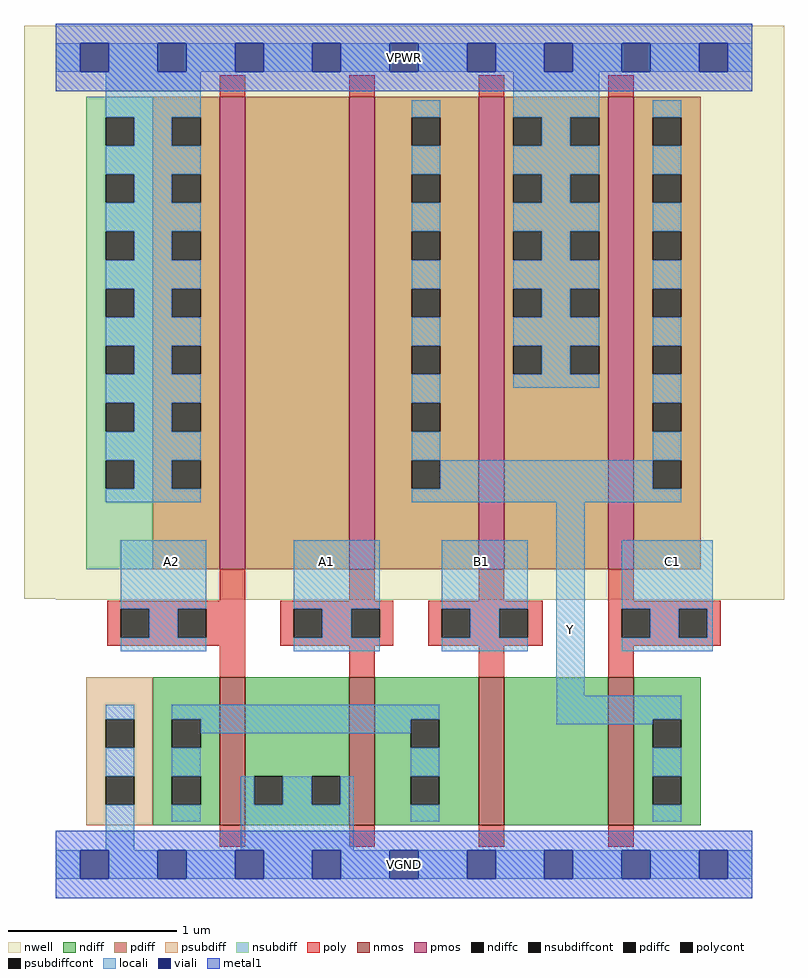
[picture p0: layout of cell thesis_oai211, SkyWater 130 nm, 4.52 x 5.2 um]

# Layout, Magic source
magic
tech sky130A
magscale 1 2
<< nwell >>
rect -38 316 866 998
rect 0 315 866 316
<< nmos >>
rect 195 47 225 223
rect 349 47 379 223
rect 503 47 533 223
rect 657 47 687 223
<< pmos >>
rect 195 351 225 913
rect 349 351 379 913
rect 503 351 533 913
rect 657 351 687 913
<< ndiff >>
rect 115 173 195 223
rect 115 139 138 173
rect 172 139 195 173
rect 115 105 195 139
rect 115 71 138 105
rect 172 71 195 105
rect 115 47 195 71
rect 225 105 349 223
rect 225 71 236 105
rect 270 71 304 105
rect 338 71 349 105
rect 225 47 349 71
rect 379 173 503 223
rect 379 139 422 173
rect 456 139 503 173
rect 379 105 503 139
rect 379 71 422 105
rect 456 71 503 105
rect 379 47 503 71
rect 533 47 657 223
rect 687 173 767 223
rect 687 139 710 173
rect 744 139 767 173
rect 687 105 767 139
rect 687 71 710 105
rect 744 71 767 105
rect 687 47 767 71
<< pdiff >>
rect 115 889 195 913
rect 115 855 138 889
rect 172 855 195 889
rect 115 821 195 855
rect 115 787 138 821
rect 172 787 195 821
rect 115 753 195 787
rect 115 719 138 753
rect 172 719 195 753
rect 115 685 195 719
rect 115 651 138 685
rect 172 651 195 685
rect 115 617 195 651
rect 115 583 138 617
rect 172 583 195 617
rect 115 549 195 583
rect 115 515 138 549
rect 172 515 195 549
rect 115 481 195 515
rect 115 447 138 481
rect 172 447 195 481
rect 115 351 195 447
rect 225 351 349 913
rect 379 889 503 913
rect 379 855 423 889
rect 457 855 503 889
rect 379 821 503 855
rect 379 787 423 821
rect 457 787 503 821
rect 379 753 503 787
rect 379 719 423 753
rect 457 719 503 753
rect 379 685 503 719
rect 379 651 423 685
rect 457 651 503 685
rect 379 617 503 651
rect 379 583 423 617
rect 457 583 503 617
rect 379 549 503 583
rect 379 515 423 549
rect 457 515 503 549
rect 379 481 503 515
rect 379 447 423 481
rect 457 447 503 481
rect 379 351 503 447
rect 533 889 657 913
rect 533 855 544 889
rect 578 855 612 889
rect 646 855 657 889
rect 533 821 657 855
rect 533 787 544 821
rect 578 787 612 821
rect 646 787 657 821
rect 533 753 657 787
rect 533 719 544 753
rect 578 719 612 753
rect 646 719 657 753
rect 533 685 657 719
rect 533 651 544 685
rect 578 651 612 685
rect 646 651 657 685
rect 533 617 657 651
rect 533 583 544 617
rect 578 583 612 617
rect 646 583 657 617
rect 533 351 657 583
rect 687 889 767 913
rect 687 855 710 889
rect 744 855 767 889
rect 687 821 767 855
rect 687 787 710 821
rect 744 787 767 821
rect 687 753 767 787
rect 687 719 710 753
rect 744 719 767 753
rect 687 685 767 719
rect 687 651 710 685
rect 744 651 767 685
rect 687 617 767 651
rect 687 583 710 617
rect 744 583 767 617
rect 687 549 767 583
rect 687 515 710 549
rect 744 515 767 549
rect 687 481 767 515
rect 687 447 710 481
rect 744 447 767 481
rect 687 351 767 447
<< ndiffc >>
rect 138 139 172 173
rect 138 71 172 105
rect 236 71 270 105
rect 304 71 338 105
rect 422 139 456 173
rect 422 71 456 105
rect 710 139 744 173
rect 710 71 744 105
<< pdiffc >>
rect 138 855 172 889
rect 138 787 172 821
rect 138 719 172 753
rect 138 651 172 685
rect 138 583 172 617
rect 138 515 172 549
rect 138 447 172 481
rect 423 855 457 889
rect 423 787 457 821
rect 423 719 457 753
rect 423 651 457 685
rect 423 583 457 617
rect 423 515 457 549
rect 423 447 457 481
rect 544 855 578 889
rect 612 855 646 889
rect 544 787 578 821
rect 612 787 646 821
rect 544 719 578 753
rect 612 719 646 753
rect 544 651 578 685
rect 612 651 646 685
rect 544 583 578 617
rect 612 583 646 617
rect 710 855 744 889
rect 710 787 744 821
rect 710 719 744 753
rect 710 651 744 685
rect 710 583 744 617
rect 710 515 744 549
rect 710 447 744 481
<< psubdiff >>
rect 36 173 115 223
rect 36 139 59 173
rect 93 139 115 173
rect 36 105 115 139
rect 36 71 59 105
rect 93 71 115 105
rect 36 47 115 71
<< nsubdiff >>
rect 36 889 115 913
rect 36 855 59 889
rect 93 855 115 889
rect 36 821 115 855
rect 36 787 59 821
rect 93 787 115 821
rect 36 753 115 787
rect 36 719 59 753
rect 93 719 115 753
rect 36 685 115 719
rect 36 651 59 685
rect 93 651 115 685
rect 36 617 115 651
rect 36 583 59 617
rect 93 583 115 617
rect 36 549 115 583
rect 36 515 59 549
rect 93 515 115 549
rect 36 481 115 515
rect 36 447 59 481
rect 93 447 115 481
rect 36 351 115 447
<< psubdiffcont >>
rect 59 139 93 173
rect 59 71 93 105
<< nsubdiffcont >>
rect 59 855 93 889
rect 59 787 93 821
rect 59 719 93 753
rect 59 651 93 685
rect 59 583 93 617
rect 59 515 93 549
rect 59 447 93 481
<< poly >>
rect 195 913 225 939
rect 349 913 379 939
rect 503 913 533 939
rect 657 913 687 939
rect 195 314 225 351
rect 349 314 379 351
rect 503 314 533 351
rect 657 314 687 351
rect 61 304 225 314
rect 61 270 77 304
rect 111 270 145 304
rect 179 270 225 304
rect 61 260 225 270
rect 267 304 401 314
rect 267 270 283 304
rect 317 270 351 304
rect 385 270 401 304
rect 267 260 401 270
rect 443 304 579 314
rect 443 270 459 304
rect 493 270 527 304
rect 561 270 579 304
rect 443 260 579 270
rect 657 304 791 314
rect 657 270 673 304
rect 707 270 741 304
rect 775 270 791 304
rect 657 260 791 270
rect 195 223 225 260
rect 349 223 379 260
rect 503 223 533 260
rect 657 223 687 260
rect 195 21 225 47
rect 349 21 379 47
rect 503 21 533 47
rect 657 21 687 47
<< polycont >>
rect 77 270 111 304
rect 145 270 179 304
rect 283 270 317 304
rect 351 270 385 304
rect 459 270 493 304
rect 527 270 561 304
rect 673 270 707 304
rect 741 270 775 304
<< locali >>
rect 0 943 29 977
rect 63 943 121 977
rect 155 943 213 977
rect 247 943 305 977
rect 339 943 397 977
rect 431 943 489 977
rect 523 943 581 977
rect 615 943 673 977
rect 707 943 765 977
rect 799 943 828 977
rect 59 889 172 943
rect 93 855 138 889
rect 59 821 172 855
rect 93 787 138 821
rect 59 753 172 787
rect 93 719 138 753
rect 59 685 172 719
rect 93 651 138 685
rect 59 617 172 651
rect 93 583 138 617
rect 59 549 172 583
rect 93 515 138 549
rect 59 481 172 515
rect 93 447 138 481
rect 59 431 172 447
rect 423 889 457 909
rect 423 821 457 855
rect 423 753 457 787
rect 423 685 457 719
rect 423 617 457 651
rect 423 549 457 583
rect 544 889 646 943
rect 578 855 612 889
rect 544 821 646 855
rect 578 787 612 821
rect 544 753 646 787
rect 578 719 612 753
rect 544 685 646 719
rect 578 651 612 685
rect 544 617 646 651
rect 578 583 612 617
rect 544 567 646 583
rect 710 889 744 909
rect 710 821 744 855
rect 710 753 744 787
rect 710 685 744 719
rect 710 617 744 651
rect 423 481 457 515
rect 710 549 744 583
rect 710 481 744 515
rect 457 447 710 481
rect 423 431 744 447
rect 77 304 179 386
rect 111 270 145 304
rect 77 254 179 270
rect 283 304 385 386
rect 317 270 351 304
rect 283 254 385 270
rect 459 304 561 386
rect 493 270 527 304
rect 459 254 561 270
rect 595 201 629 431
rect 673 304 781 386
rect 707 270 741 304
rect 775 270 781 304
rect 673 254 781 270
rect 59 173 93 190
rect 59 105 93 139
rect 59 17 93 71
rect 138 173 456 190
rect 172 156 422 173
rect 138 105 172 139
rect 595 173 744 201
rect 595 167 710 173
rect 422 105 456 139
rect 138 51 172 71
rect 220 71 236 105
rect 270 71 304 105
rect 338 71 354 105
rect 220 17 354 71
rect 422 51 456 71
rect 710 105 744 139
rect 710 51 744 71
rect 0 -17 29 17
rect 63 -17 121 17
rect 155 -17 213 17
rect 247 -17 305 17
rect 339 -17 397 17
rect 431 -17 489 17
rect 523 -17 581 17
rect 615 -17 673 17
rect 707 -17 765 17
rect 799 -17 828 17
<< viali >>
rect 29 943 63 977
rect 121 943 155 977
rect 213 943 247 977
rect 305 943 339 977
rect 397 943 431 977
rect 489 943 523 977
rect 581 943 615 977
rect 673 943 707 977
rect 765 943 799 977
rect 29 -17 63 17
rect 121 -17 155 17
rect 213 -17 247 17
rect 305 -17 339 17
rect 397 -17 431 17
rect 489 -17 523 17
rect 581 -17 615 17
rect 673 -17 707 17
rect 765 -17 799 17
<< metal1 >>
rect 0 977 828 1000
rect 0 943 29 977
rect 63 943 121 977
rect 155 943 213 977
rect 247 943 305 977
rect 339 943 397 977
rect 431 943 489 977
rect 523 943 581 977
rect 615 943 673 977
rect 707 943 765 977
rect 799 943 828 977
rect 0 920 828 943
rect 0 17 828 40
rect 0 -17 29 17
rect 63 -17 121 17
rect 155 -17 213 17
rect 247 -17 305 17
rect 339 -17 397 17
rect 431 -17 489 17
rect 523 -17 581 17
rect 615 -17 673 17
rect 707 -17 765 17
rect 799 -17 828 17
rect 0 -40 828 -17
<< labels >>
flabel locali s 305 343 339 377 0 FreeSans 240 0 0 0 A1
port 1 nsew signal input
flabel locali s 489 343 523 377 0 FreeSans 240 0 0 0 B1
port 2 nsew
flabel locali s 595 263 629 297 0 FreeSans 240 0 0 0 Y
port 4 nsew signal output
flabel metal1 s 397 943 431 977 0 FreeSans 240 0 0 0 VPWR
port 5 nsew power bidirectional
flabel locali s 716 343 750 377 0 FreeSans 240 0 0 0 C1
port 3 nsew signal input
flabel locali s 121 343 155 377 0 FreeSans 240 0 0 0 A2
port 0 nsew signal input
flabel metal1 s 397 -17 431 17 0 FreeSans 240 0 0 0 VGND
port 7 nsew
<< properties >>
string FIXED_BBOX 0 0 828 960
string LEFclass CORE
string LEForigin 0 0
<< end >>
